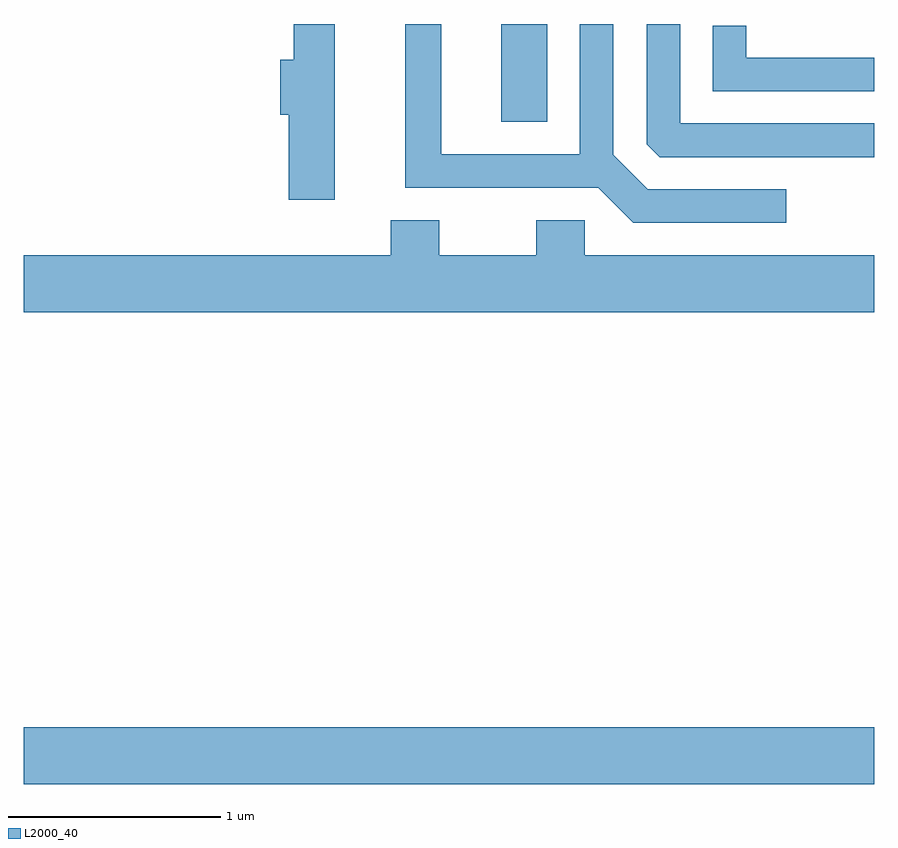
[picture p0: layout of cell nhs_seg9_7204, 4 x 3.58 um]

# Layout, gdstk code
import gdstk
lib = gdstk.Library(unit=1e-6, precision=1e-09)
def R(c, l, rs):  # rectangles x0, y0, x1, y1
    for r in rs: c.add(gdstk.rectangle(r[:2], r[2:], *l))
def P(c, l, *ps):  # polygons
    for p in ps: c.add(gdstk.Polygon(p, *l))
L2000_40 = (2000, 40)

nhs_seg9_7204 = lib.new_cell('nhs_seg9_7204')
R(nhs_seg9_7204, L2000_40, [(397.611,2062.856,401.611,2063.124), (399.856,2065.971,400.074,2066.432)])
P(nhs_seg9_7204, L2000_40, [(401.611,2065.964),(400.699,2065.964),(400.699,2066.432),(400.541,2066.432),(400.541,2065.867),(400.602,2065.806),(401.611,2065.806)],
  [(401.198,2065.654),(400.547,2065.654),(400.384,2065.817),(400.384,2066.432),(400.226,2066.432),(400.226,2065.819),(399.574,2065.819),(399.574,2066.432),(399.406,2066.432),(399.406,2065.661),(400.314,2065.661),(400.479,2065.496),(401.198,2065.496)],
  [(399.074,2066.432),(398.881,2066.432),(398.881,2066.264),(398.816,2066.264),(398.816,2066.006),(398.856,2066.006),(398.856,2065.606),(399.074,2065.606)],
  [(401.611,2066.274),(401.009,2066.274),(401.009,2066.423),(400.851,2066.423),(400.851,2066.116),(401.611,2066.116)],
  [(401.611,2065.344),(400.249,2065.344),(400.249,2065.509),(400.021,2065.509),(400.021,2065.344),(399.564,2065.344),(399.564,2065.509),(399.336,2065.509),(399.336,2065.344),(397.611,2065.344),(397.611,2065.076),(401.611,2065.076)])

lib.write_gds('nhs_seg9_7204.gds')
